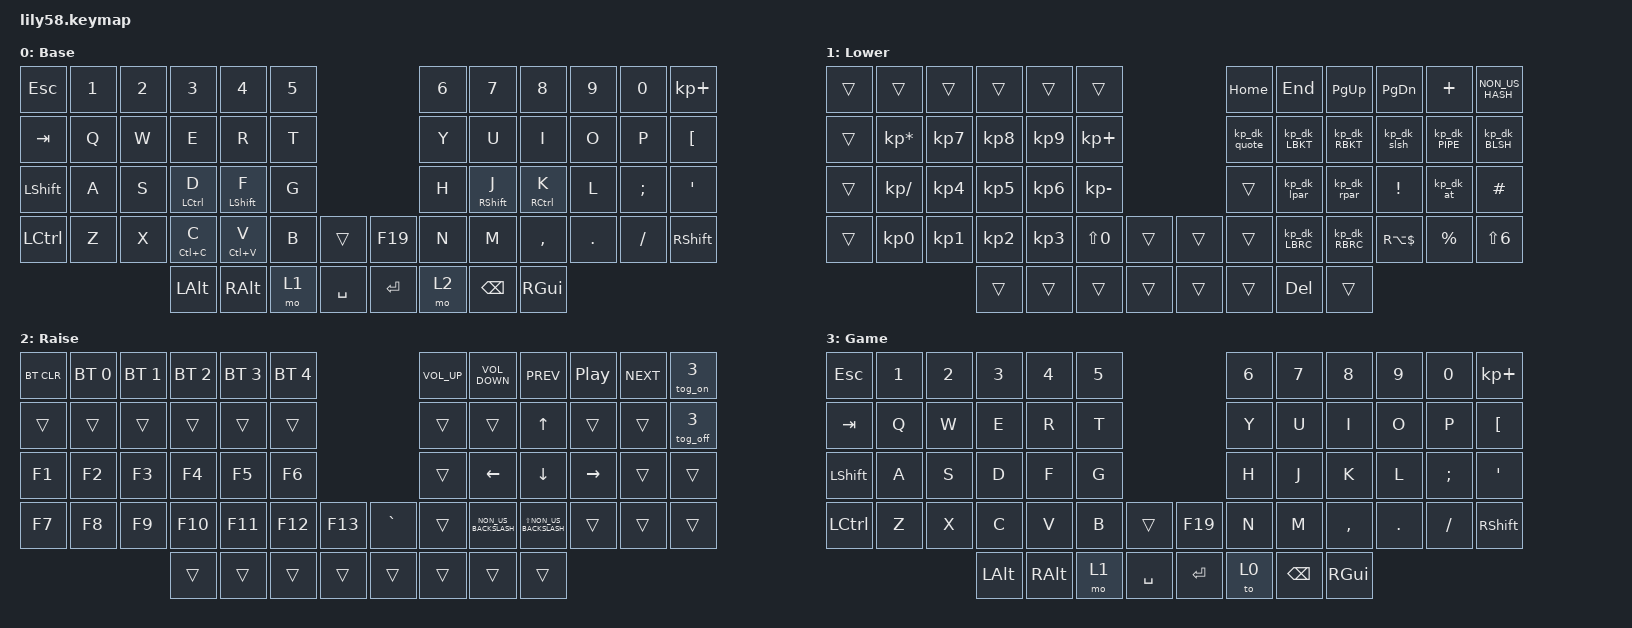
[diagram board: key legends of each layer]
/*
 * Copyright (c) 2020 The ZMK Contributors
 *
 * SPDX-License-Identifier: MIT
 */

#include <behaviors.dtsi>
#include <dt-bindings/zmk/bt.h>
#include <dt-bindings/zmk/keys.h>
#include "aliases.h" //file contains aliases for most symbols for the danish language

#define DEFAULT 0
#define LOWER   1
#define RAISE   2
#define GAME    3

/ {
    macros {
        kp_dk_LBKT: kp_dk_LBKT {
            label = "kp_dk_LBKT";
            compatible = "zmk,behavior-macro";
            #binding-cells = <0>;
            bindings =
                <&macro_press>,
                <&kp RALT>,
                <&macro_tap>,
                <&kp N8>,
                <&macro_release>,
                <&kp RALT>;
        };

        kp_dk_RBKT: kp_dk_RBKT {
            label = "kp_dk_RBKT";
            compatible = "zmk,behavior-macro";
            #binding-cells = <0>;
            bindings =
                <&macro_press>,
                <&kp RALT>,
                <&macro_tap>,
                <&kp N9>,
                <&macro_release>,
                <&kp RALT>;
        };

        kp_dk_LBRC: kp_dk_LBRC {
            label = "kp_dk_LBRC";
            compatible = "zmk,behavior-macro";
            #binding-cells = <0>;
            bindings =
                <&macro_press>,
                <&kp RALT>,
                <&macro_tap>,
                <&kp N7>,
                <&macro_release>,
                <&kp RALT>;
        };

        kp_dk_RBRC: kp_dk_RBRC {
            label = "kp_dk_RBRC";
            compatible = "zmk,behavior-macro";
            #binding-cells = <0>;
            bindings =
                <&macro_press>,
                <&kp RALT>,
                <&macro_tap>,
                <&kp N0>,
                <&macro_release>,
                <&kp RALT>;
        };

        dk_copy: copy {
            label = "copy";
            compatible = "zmk,behavior-macro";
            #binding-cells = <0>;
            bindings =
                <&macro_press>,
                <&kp LCTRL>,
                <&macro_tap>,
                <&kp C>,
                <&macro_release>,
                <&kp LCTRL>;
        };

        dk_paste: dk_paste {
            label = "dk_paste";
            compatible = "zmk,behavior-macro";
            #binding-cells = <0>;
            bindings =
                <&macro_press>,
                <&kp LCTRL>,
                <&macro_tap>,
                <&kp V>,
                <&macro_release>,
                <&kp LCTRL>;
        };

        del_word: del_word {
            label = "del_word";
            compatible = "zmk,behavior-macro";
            #binding-cells = <0>;
            bindings =
                <&macro_press>,
                <&kp LCTRL>,
                <&macro_tap>,
                <&kp BACKSPACE>,
                <&macro_release>,
                <&kp LCTRL>;
        };

        kp_dk_BLSH: kp_dk_BLSH {
            label = "kp_dk_BLSH";
            compatible = "zmk,behavior-macro";
            #binding-cells = <0>;
            bindings =
                <&macro_press>,
                <&kp RALT>,
                <&macro_tap>,
                <&kp NON_US_BACKSLASH>,
                <&macro_release>,
                <&kp RALT>;
        };

        kp_dk_PIPE: kp_dk_PIPE {
            label = "kp_dk_PIPE";
            compatible = "zmk,behavior-macro";
            #binding-cells = <0>;
            bindings =
                <&macro_press>,
                <&kp RALT>,
                <&macro_tap>,
                <&kp EQUAL>,
                <&macro_release>,
                <&kp RALT>;
        };

        kp_dk_UNDER: kp_dk_UNDER {
            label = "kp_dk_UNDER";
            compatible = "zmk,behavior-macro";
            #binding-cells = <0>;
            bindings =
                <&macro_press>,
                <&kp LSHIFT>,
                <&macro_tap>,
                <&kp FSLH>,
                <&macro_release>,
                <&kp LSHIFT>;
        };

        mod_left: mod_left {
            label = "mod_left";
            compatible = "zmk,behavior-macro";
            #binding-cells = <0>;
            bindings =
                <&macro_press>,
                <&kp LGUI>,
                <&macro_tap>,
                <&kp LEFT>,
                <&macro_release>,
                <&kp LGUI>;
        };

        mod_up: mod_up {
            label = "mod_up";
            compatible = "zmk,behavior-macro";
            #binding-cells = <0>;
            bindings =
                <&macro_press>,
                <&kp LGUI>,
                <&macro_tap>,
                <&kp UP>,
                <&macro_release>,
                <&kp LGUI>;
        };

        mod_right: mod_right {
            label = "mod_right";
            compatible = "zmk,behavior-macro";
            #binding-cells = <0>;
            bindings =
                <&macro_press>,
                <&kp LGUI>,
                <&macro_tap>,
                <&kp RIGHT>,
                <&macro_release>,
                <&kp LGUI>;
        };

        mod_down: mod_down {
            label = "mod_down";
            compatible = "zmk,behavior-macro";
            #binding-cells = <0>;
            bindings =
                <&macro_press>,
                <&kp LGUI>,
                <&macro_tap>,
                <&kp DOWN>,
                <&macro_release>,
                <&kp LGUI>;
        };

        kp_dk_lpar: kp_dk_lpar {
            compatible = "zmk,behavior-macro";
            label = "KP_DK_LPAR";
            #binding-cells = <0>;
            bindings =
                <&macro_press>,
                <&kp LSHFT>,
                <&macro_tap>,
                <&kp N8>,
                <&macro_release>,
                <&kp LEFT_SHIFT>;
        };

        kp_dk_rpar: kp_dk_rpar {
            compatible = "zmk,behavior-macro";
            label = "KP_DK_RPAR";
            #binding-cells = <0>;
            bindings =
                <&macro_press>,
                <&kp LSHFT>,
                <&macro_tap>,
                <&kp N9>,
                <&macro_release>,
                <&kp LEFT_SHIFT>;
        };

        kp_dk_slsh: kp_dk_slsh {
            compatible = "zmk,behavior-macro";
            label = "KP_DK_SLSH";
            #binding-cells = <0>;
            bindings =
                <&macro_press>,
                <&kp LSHFT>,
                <&macro_tap>,
                <&kp N7>,
                <&macro_release>,
                <&kp LEFT_SHIFT>;
        };

        kp_dk_quote: kp_dk_quote {
            compatible = "zmk,behavior-macro";
            label = "KP_DK_QUOTE";
            #binding-cells = <0>;
            bindings =
                <&macro_press>,
                <&kp LSHFT>,
                <&macro_tap>,
                <&kp NUMBER_2>,
                <&macro_release>,
                <&kp LEFT_SHIFT>;
        };

        kp_dk_at: kp_dk_at {
            compatible = "zmk,behavior-macro";
            label = "KP_DK_AT";
            #binding-cells = <0>;
            bindings =
                <&macro_press>,
                <&kp RIGHT_ALT>,
                <&macro_tap>,
                <&kp NUMBER_2>,
                <&macro_release>,
                <&kp RIGHT_ALT>;
        };
    };

    behaviors {
        LP_cp: LP_cp {
            compatible = "zmk,behavior-hold-tap";
            label = "LP_CP";
            bindings = <&kp>, <&kp>;

            #binding-cells = <2>;
            tapping-term-ms = <350>;
            flavor = "tap-preferred";
        };

        HR_Left: HR_Left {
            compatible = "zmk,behavior-hold-tap";
            label = "HR_LEFT";
            bindings = <&kp>, <&kp>;

            #binding-cells = <2>;
            tapping-term-ms = <280>;
            hold-while-undecided;
            hold-trigger-key-positions = <54 43 7 6 7 8 9 10 11 18 19 20 21 22 23 30 31 32 33 34 35 43 44 45 46 47 48 49 54 55 56 57>;
            quick-tap-ms = <175>;
            require-prior-idle-ms = <150>;
            flavor = "balanced";
            hold-trigger-on-release;
        };

        HR_right: HR_right {
            compatible = "zmk,behavior-hold-tap";
            label = "HR_RIGHT";
            bindings = <&kp>, <&kp>;

            #binding-cells = <2>;
            tapping-term-ms = <280>;
            hold-while-undecided;
            hold-trigger-key-positions = <0 1 2 3 4 5 12 13 14 15 16 17 24 25 26 27 28 29 36 37 38 39 40 41 42 50 51 52 53>;
            quick-tap-ms = <175>;
            require-prior-idle-ms = <150>;
            flavor = "balanced";
            hold-trigger-on-release;
        };

        tog_on: tog_on {
            compatible = "zmk,behavior-toggle-layer";
            label = "TOG_ON";
            #binding-cells = <1>;
            toggle-mode = "on";
        };

        tog_off: tog_off {
            compatible = "zmk,behavior-toggle-layer";
            label = "TOG_OFF";
            #binding-cells = <1>;
            toggle-mode = "off";
        };
    };

    keymap {
        compatible = "zmk,keymap";

        default_layer_dk {
            // ------------------------------------------------------------------------------------------------------------
            // |  ESC  |  1  |  2  |  3   |  4   |  5   |                   |  6   |  7    |  8    |  9   |   0   |   +   |
            // |  TAB  |  Q  |  W  |  E   |  R   |  T   |                   |  Y   |  U    |  I    |  O   |   P   |   Å   |
            // |  CTRL |  A  |  S  |  D   |  F   |  G   |                   |  H   |  J    |  K    |  L   |   Æ   |   Ø   |
            // | SHIFT |  Z  |  X  |  C   |  V   |  B   |  copy  |  |  F19  |  N   |  M    |  ,    |  .   |   -   | SHIFT |
            //                     | ALT  | RALT | LOWER|  SPACE |  | ENTER | RAISE| BSPC  | GUI   |

            display-name = "Base";
            bindings = <
&kp ESC    &kp N1  &kp N2  &kp N3            &kp N4                 &kp N5                           &kp N6  &kp N7              &kp N8             &kp N9   &kp N0    &kp KP_PLUS
&kp TAB    &kp Q   &kp W   &kp E             &kp R                  &kp T                            &kp Y   &kp U               &kp I              &kp O    &kp P     &kp LBKT
&kp LSHFT  &kp A   &kp S   &HR_Left LCTRL D  &HR_Left LEFT_SHIFT F  &kp G                            &kp H   &HR_right RSHIFT J  &HR_right RCTRL K  &kp L    &kp SEMI  &kp SQT
&kp LCTRL  &kp Z   &kp X   &LP_cp LC(C) C    &LP_cp LC(V) V         &kp B   &trans       &kp F19     &kp N   &kp M               &kp COMMA          &kp DOT  &kp FSLH  &kp RSHFT
                           &kp LALT          &kp RIGHT_ALT          &mo 1   &kp SPACE    &kp RETURN  &mo 2   &kp BSPC            &kp RGUI
            >;
        };

        lower_layer {
            // ------------------------------------------------------------------------------------------------------------
            // |  BTCLR |  BT1   |  BT2   |  BT3 |  BT4  |  BT5  |                   |  HOME |  END  | PGUP  | PGDN |  "`"  |  "'"  |
            // |        |        |        |      |       |       |                   |   "   |  "["  |  "]"  |  "/" |  "|"  |  "\"  |
            // |   F1   |   F2   |   F3   |  F4  |  F5   |  F6   |                   |  copy |  "("  |  ")"  |  "!" |   @   |  "#"  |
            // |   F7   |   F8   |   F9   |  F10 |  F11  |  F12  |       |   |       | paste |  "{"  |  "}"  |  "¼" |   %   |  "&"  |
            //                            |      |       |       |       |   |       |       |       |       |

            display-name = "Lower";
            bindings = <
&trans  &trans           &trans     &trans     &trans     &trans                          &kp HOME      &kp END      &kp PAGE_UP  &kp PAGE_DOWN   &kp PLUS     &kp NON_US_HASH
&trans  &kp KP_MULTIPLY  &kp KP_N7  &kp KP_N8  &kp KP_N9  &kp KP_PLUS                     &kp_dk_quote  &kp_dk_LBKT  &kp_dk_RBKT  &kp_dk_slsh     &kp_dk_PIPE  &kp_dk_BLSH
&trans  &kp KP_SLASH     &kp KP_N4  &kp KP_N5  &kp KP_N6  &kp KP_MINUS                    &trans        &kp_dk_lpar  &kp_dk_rpar  &kp EXCL        &kp_dk_at    &kp HASH
&trans  &kp KP_N0        &kp KP_N1  &kp KP_N2  &kp KP_N3  &kp LS(N0)    &trans    &trans  &trans        &kp_dk_LBRC  &kp_dk_RBRC  &kp RA(DOLLAR)  &kp PERCENT  &kp LS(NUMBER_6)
                                    &trans     &trans     &trans        &trans    &trans  &trans        &kp DELETE   &trans
            >;
        };

        raise_layer {
            // ------------------------------------------------------------------------------------------------------------
            // |    |     |     |     |     |     |              | vol+ |  vol- |   <<  | play |  >>   |       |
            // |    |  *  |  7  |  8  |  9  |  +  |              |      |       |       |      |       |       |
            // |    |  /  |  4  |  5  |  6  |  -  |              |      |   <-  |   v   |  ^   |  ->   |       |
            // |    |  0  |  1  |  2  |  3  |  =  |     |  |     |      |  "<"  |  ">"  |      |       |       |
            //                        |     |     |     |  |     |      |       |       |      |

            display-name = "Raise";
            bindings = <
&bt BT_CLR  &bt BT_SEL 0  &bt BT_SEL 1  &bt BT_SEL 2  &bt BT_SEL 3  &bt BT_SEL 4                        &kp C_VOLUME_UP  &kp C_VOLUME_DOWN     &kp C_PREV                &kp C_PLAY_PAUSE  &kp C_NEXT  &tog_on 3
&trans      &trans        &trans        &trans        &trans        &trans                              &trans           &trans                &kp UP                    &trans            &trans      &tog_off 3
&kp F1      &kp F2        &kp F3        &kp F4        &kp F5        &kp F6                              &trans           &kp LEFT              &kp DOWN                  &kp RIGHT         &trans      &trans
&kp F7      &kp F8        &kp F9        &kp F10       &kp F11       &kp F12       &kp F13    &kp GRAVE  &trans           &kp NON_US_BACKSLASH  &kp LS(NON_US_BACKSLASH)  &trans            &trans      &trans
                                        &trans        &trans        &trans        &trans     &trans     &trans           &trans                &trans
            >;
        };

        Game_Skyrim {
            display-name = "Game";
            bindings = <
&kp ESC    &kp N1  &kp N2  &kp N3    &kp N4         &kp N5                           &kp N6  &kp N7    &kp N8     &kp N9   &kp N0    &kp KP_PLUS
&kp TAB    &kp Q   &kp W   &kp E     &kp R          &kp T                            &kp Y   &kp U     &kp I      &kp O    &kp P     &kp LBKT
&kp LSHFT  &kp A   &kp S   &kp D     &kp F          &kp G                            &kp H   &kp J     &kp K      &kp L    &kp SEMI  &kp SQT
&kp LCTRL  &kp Z   &kp X   &kp C     &kp V          &kp B   &trans       &kp F19     &kp N   &kp M     &kp COMMA  &kp DOT  &kp FSLH  &kp RSHFT
                           &kp LALT  &kp RIGHT_ALT  &mo 1   &kp SPACE    &kp RETURN  &to 0   &kp BSPC  &kp RGUI
            >;
        };
    };
};
